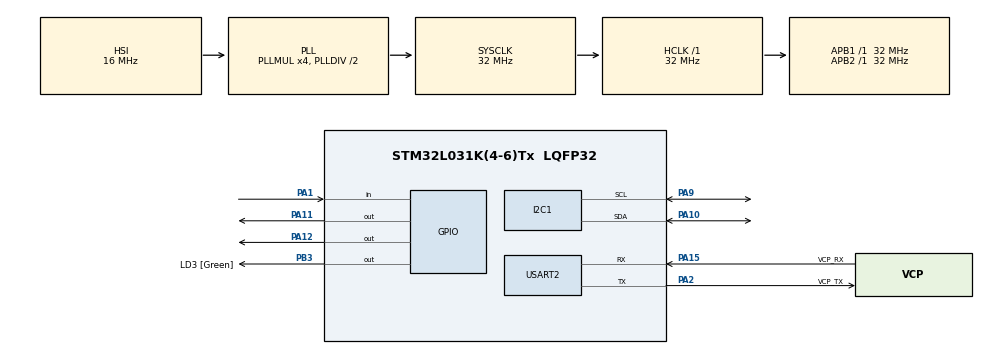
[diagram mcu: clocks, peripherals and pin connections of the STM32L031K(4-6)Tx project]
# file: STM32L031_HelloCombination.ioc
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I2C1.Speed=100
I2C1.Timing=0x00707CBB
Mcu.Family=STM32L0
Mcu.Name=STM32L031K(4-6)Tx
Mcu.Package=LQFP32
PA0-CK_IN.Mode=SYS_WakeUp0
PA0-CK_IN.Signal=SYS_WKUP1
PA1.Signal=GPIO_Input
PA10.Mode=I2C
PA10.Signal=I2C1_SDA
PA11.Signal=GPIO_Output
PA12.Signal=GPIO_Output
PA13.GPIO_Label=TMS
PA13.Mode=Serial_Wire
PA13.Signal=SYS_SWDIO
PA14.GPIO_Label=TCK
PA14.Mode=Serial_Wire
PA14.Signal=SYS_SWCLK
PA15.GPIO_Label=VCP_RX
PA15.Mode=Asynchronous
PA15.Signal=USART2_RX
PA2.GPIO_Label=VCP_TX
PA2.Mode=Asynchronous
PA2.Signal=USART2_TX
PA9.Mode=I2C
PA9.Signal=I2C1_SCL
PB3.GPIO_Label=LD3 [Green]
PB3.Signal=GPIO_Output
PC14-OSC32_IN.Mode=LSE-External-Oscillator
PC14-OSC32_IN.Signal=RCC_OSC32_IN
PC15-OSC32_OUT.Mode=LSE-External-Oscillator
PC15-OSC32_OUT.Signal=RCC_OSC32_OUT
ProjectManager.HeapSize=0x200
ProjectManager.StackSize=0x400
ProjectManager.TargetToolchain=STM32CubeIDE
RCC.AHBFreq_Value=32000000
RCC.APB1Freq_Value=32000000
RCC.APB1TimFreq_Value=32000000
RCC.APB2Freq_Value=32000000
RCC.APB2TimFreq_Value=32000000
RCC.HCLKFreq_Value=32000000
RCC.HSE_VALUE=8000000
RCC.HSI16_VALUE=16000000
RCC.HSI48_VALUE=48000000
RCC.HSI_VALUE=16000000
RCC.MSI_VALUE=2097000
RCC.PLLMUL=RCC_PLLMUL_4
RCC.RTCClockSelectionVirtual=RCC_RTCCLKSOURCE_LSE
RCC.SYSCLKFreq_VALUE=32000000
RCC.SYSCLKSource=RCC_SYSCLKSOURCE_PLLCLK
RCC.VCOOutputFreq_Value=64000000
USART2.VirtualMode-Asynchronous=VM_ASYNC
VP_RTC_VS_RTC_Activate.Mode=RTC_Enabled
board=NUCLEO-L031K6

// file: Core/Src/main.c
/* USER CODE BEGIN Header */
/**
  ******************************************************************************
  * @file           : main.c
  * @brief          : Main program body
  ******************************************************************************
  * @attention
  *
  * Copyright (c) 2022 STMicroelectronics.
  * All rights reserved.
  *
  * This software is licensed under terms that can be found in the LICENSE file
  * in the root directory of this software component.
  * If no LICENSE file comes with this software, it is provided AS-IS.
  *
  ******************************************************************************
  * Functionality:
  *
  * While PA0 and PA1 are connected to 3V3 (high) the leds will show the
  * current second % 12.
  * If PA0 and PA1 are left floating an internal pull down (low) will pull them
  * down and the controller goes into standby mode, with only the RTC running.
  *
  * When flashing new code, the controller will reset fully and overwrite the
  * RTC time with the build time.
  * When coming back from standby, the time will not be reset.
  * To check this, the seconds are set to 9 instead of the build time seconds.
  * Note that the RTC might tick to the next second before the led turns on.
  *
  ******************************************************************************
  */
/* USER CODE END Header */
#include "main.h"

/* USER CODE BEGIN Includes */
#include "build_defs.h"
#include <stdbool.h>
/* USER CODE END Includes */

/* USER CODE BEGIN PD */
#define Addr_GND_GND 0xC0
/* USER CODE END PD */

I2C_HandleTypeDef hi2c1;

RTC_HandleTypeDef hrtc;

UART_HandleTypeDef huart2;

/* USER CODE BEGIN PV */
uint8_t hours[] = {35, 53, 71, 18, 36, 54, 72, 16, 34, 52, 70, 17};

uint8_t minutes[] = {2, 20, 38, 56,
                     3, 21, 39, 57,
                     4, 22, 40, 58,
                     5, 23, 41, 59,
                     6, 24, 42, 60,
                     7, 25, 43, 61,
                     8, 26, 44, 62,
                     9, 27, 45, 63,
                     10, 28, 46, 64,
                     11, 29, 47, 65,
                     12, 30, 48, 66,
                     13, 31, 49, 67,
                     14, 32, 50, 68,
                     15, 33, 51, 69,
                     1, 19, 37, 55};
/* USER CODE END PV */

void SystemClock_Config(void);
static void MX_GPIO_Init(void);
static void MX_USART2_UART_Init(void);
static void MX_I2C1_Init(void);
static void MX_RTC_Init(void);
/* USER CODE BEGIN PFP */
static void MAX_Set_Rtc(void);
void MAX_Init3746A(void);
void MAX_I2CSend(uint8_t * data);
/* USER CODE END PFP */

int main(void)
{

  /* MCU Configuration--------------------------------------------------------*/

  /* Reset of all peripherals, Initializes the Flash interface and the Systick. */
  HAL_Init();

  /* Configure the system clock */
  SystemClock_Config();

  /* Initialize all configured peripherals */
  MX_GPIO_Init();
  MX_USART2_UART_Init();
  MX_I2C1_Init();
  MX_RTC_Init();
  /* USER CODE BEGIN 2 */
  // NOTE: USER MODIFIED CODE IN AUTO CONFIG MX_RTC_Init(); !!!!!!!!!!!!!!!!!!!!!!!!

  // when coming from standby
  if (PWR->CSR & PWR_CSR_SBF) {
    // reset the standby flag
    PWR->CR |= PWR_CR_CSBF;
  } else {
    // coming from flashing (or full reset)

    MAX_Set_Rtc();
  }

  HAL_GPIO_WritePin(GPIOA, GPIO_PIN_12, GPIO_PIN_SET);
  HAL_GPIO_WritePin(GPIOA, GPIO_PIN_11, GPIO_PIN_SET);

  MAX_Init3746A();

  RTC_TimeTypeDef lasttime;
  lasttime.Seconds = 99;
  lasttime.Hours = 99;
  lasttime.Minutes = 99;

  bool changed = false;
  /* USER CODE END 2 */

  /* Infinite loop */
  /* USER CODE BEGIN WHILE */
  while (1)
  {
    RTC_TimeTypeDef time;
    RTC_DateTypeDef date;
    HAL_RTC_GetTime(&hrtc, &time, RTC_FORMAT_BIN);
    HAL_RTC_GetDate(&hrtc, &date, RTC_FORMAT_BIN);

    uint8_t data[2];
    data[0] = 0xfe;
    data[1] = 0xc5;
    MAX_I2CSend(data);
    data[0] = 0xfd;
    data[1] = 0x00;
    MAX_I2CSend(data); // page 0

    if (time.Seconds != lasttime.Seconds) {
      data[0] = minutes[(lasttime.Seconds+41)%60];
      data[1] = 0x00;
      MAX_I2CSend(data); // off

      changed = true;

      data[0] = minutes[(time.Seconds+41)%60];
      data[1] = 0x08;
      MAX_I2CSend(data); // on
      data[0] = minutes[(time.Minutes+41)%60];
      data[1] = 0x08;
      MAX_I2CSend(data); // on
    }

    if (time.Minutes != lasttime.Minutes) {
      data[0] = minutes[(lasttime.Minutes+41)%60];
      data[1] = 0x00;
      MAX_I2CSend(data); // off

      changed = true;

      data[0] = minutes[(time.Minutes+41)%60];
      data[1] = 0x08;
      MAX_I2CSend(data); // on
    }

    if (time.Hours != lasttime.Hours) {
      data[0] = hours[(lasttime.Hours+4)%12];
      data[1] = 0x00;
      MAX_I2CSend(data); // off

      changed = true;

      data[0] = hours[(time.Hours+4)%12];
      data[1] = 0x08;
      MAX_I2CSend(data); // on
    }

    if (changed) {
      changed = false;
      lasttime = time;
    }

    // if button was released, aka pulled low
    if (!HAL_GPIO_ReadPin(GPIOA, GPIO_PIN_1)) {

      // all leds off
      data[0] = 0xfe;
      data[1] = 0xc5;
      MAX_I2CSend(data);
      data[0] = 0xfd;
      data[1] = 0x00;
      MAX_I2CSend(data); // page 0
      for (int i = 1; i < 73; i++)
      {
        data[0] = i;
        data[1] = 0x00;
        MAX_I2CSend(data); // PWM
      }

      // turn stuff off
      PWR->CSR |= PWR_CSR_EWUP1 | PWR_CSR_EWUP2;
      PWR->CR |= PWR_CR_CWUF;
      PWR->CR |= PWR_CR_ULP; // turn off v_refint

      HAL_PWR_EnableWakeUpPin(PWR_WAKEUP_PIN1);

      // goto standby
      HAL_PWR_EnterSTANDBYMode();
    }
    /* USER CODE END WHILE */

  }
}

void SystemClock_Config(void)
{
  RCC_OscInitTypeDef RCC_OscInitStruct = {0};
  RCC_ClkInitTypeDef RCC_ClkInitStruct = {0};
  RCC_PeriphCLKInitTypeDef PeriphClkInit = {0};

  /** Configure the main internal regulator output voltage
  */
  __HAL_PWR_VOLTAGESCALING_CONFIG(PWR_REGULATOR_VOLTAGE_SCALE1);
  /** Configure LSE Drive Capability
  */
  HAL_PWR_EnableBkUpAccess();
  __HAL_RCC_LSEDRIVE_CONFIG(RCC_LSEDRIVE_LOW);
  /** Initializes the RCC Oscillators according to the specified parameters
  * in the RCC_OscInitTypeDef structure.
  */
  RCC_OscInitStruct.OscillatorType = RCC_OSCILLATORTYPE_HSI|RCC_OSCILLATORTYPE_LSE;
  RCC_OscInitStruct.LSEState = RCC_LSE_ON;
  RCC_OscInitStruct.HSIState = RCC_HSI_ON;
  RCC_OscInitStruct.HSICalibrationValue = RCC_HSICALIBRATION_DEFAULT;
  RCC_OscInitStruct.PLL.PLLState = RCC_PLL_ON;
  RCC_OscInitStruct.PLL.PLLSource = RCC_PLLSOURCE_HSI;
  RCC_OscInitStruct.PLL.PLLMUL = RCC_PLLMUL_4;
  RCC_OscInitStruct.PLL.PLLDIV = RCC_PLLDIV_2;
  if (HAL_RCC_OscConfig(&RCC_OscInitStruct) != HAL_OK)
  {
    Error_Handler();
  }
  /** Initializes the CPU, AHB and APB buses clocks
  */
  RCC_ClkInitStruct.ClockType = RCC_CLOCKTYPE_HCLK|RCC_CLOCKTYPE_SYSCLK
                              |RCC_CLOCKTYPE_PCLK1|RCC_CLOCKTYPE_PCLK2;
  RCC_ClkInitStruct.SYSCLKSource = RCC_SYSCLKSOURCE_PLLCLK;
  RCC_ClkInitStruct.AHBCLKDivider = RCC_SYSCLK_DIV1;
  RCC_ClkInitStruct.APB1CLKDivider = RCC_HCLK_DIV1;
  RCC_ClkInitStruct.APB2CLKDivider = RCC_HCLK_DIV1;

  if (HAL_RCC_ClockConfig(&RCC_ClkInitStruct, FLASH_LATENCY_1) != HAL_OK)
  {
    Error_Handler();
  }
  PeriphClkInit.PeriphClockSelection = RCC_PERIPHCLK_USART2|RCC_PERIPHCLK_I2C1
                              |RCC_PERIPHCLK_RTC;
  PeriphClkInit.Usart2ClockSelection = RCC_USART2CLKSOURCE_PCLK1;
  PeriphClkInit.I2c1ClockSelection = RCC_I2C1CLKSOURCE_PCLK1;
  PeriphClkInit.RTCClockSelection = RCC_RTCCLKSOURCE_LSE;
  if (HAL_RCCEx_PeriphCLKConfig(&PeriphClkInit) != HAL_OK)
  {
    Error_Handler();
  }
}

static void MX_I2C1_Init(void)
{

  hi2c1.Instance = I2C1;
  hi2c1.Init.Timing = 0x00707CBB;
  hi2c1.Init.OwnAddress1 = 0;
  hi2c1.Init.AddressingMode = I2C_ADDRESSINGMODE_7BIT;
  hi2c1.Init.DualAddressMode = I2C_DUALADDRESS_DISABLE;
  hi2c1.Init.OwnAddress2 = 0;
  hi2c1.Init.OwnAddress2Masks = I2C_OA2_NOMASK;
  hi2c1.Init.GeneralCallMode = I2C_GENERALCALL_DISABLE;
  hi2c1.Init.NoStretchMode = I2C_NOSTRETCH_DISABLE;
  if (HAL_I2C_Init(&hi2c1) != HAL_OK)
  {
    Error_Handler();
  }
  /** Configure Analogue filter
  */
  if (HAL_I2CEx_ConfigAnalogFilter(&hi2c1, I2C_ANALOGFILTER_ENABLE) != HAL_OK)
  {
    Error_Handler();
  }
  /** Configure Digital filter
  */
  if (HAL_I2CEx_ConfigDigitalFilter(&hi2c1, 0) != HAL_OK)
  {
    Error_Handler();
  }

}

static void MX_RTC_Init(void)
{

  /** Initialize RTC Only
  */
  hrtc.Instance = RTC;
  hrtc.Init.HourFormat = RTC_HOURFORMAT_24;
  hrtc.Init.AsynchPrediv = 127;
  hrtc.Init.SynchPrediv = 255;
  hrtc.Init.OutPut = RTC_OUTPUT_DISABLE;
  hrtc.Init.OutPutRemap = RTC_OUTPUT_REMAP_NONE;
  hrtc.Init.OutPutPolarity = RTC_OUTPUT_POLARITY_HIGH;
  hrtc.Init.OutPutType = RTC_OUTPUT_TYPE_OPENDRAIN;
  if (!(PWR->CSR & PWR_CSR_SBF)) { //USER
    if (HAL_RTC_Init(&hrtc) != HAL_OK)
    {
      Error_Handler();
    }
  } //USER

}

static void MX_USART2_UART_Init(void)
{

  huart2.Instance = USART2;
  huart2.Init.BaudRate = 115200;
  huart2.Init.WordLength = UART_WORDLENGTH_8B;
  huart2.Init.StopBits = UART_STOPBITS_1;
  huart2.Init.Parity = UART_PARITY_NONE;
  huart2.Init.Mode = UART_MODE_TX_RX;
  huart2.Init.HwFlowCtl = UART_HWCONTROL_NONE;
  huart2.Init.OverSampling = UART_OVERSAMPLING_16;
  huart2.Init.OneBitSampling = UART_ONE_BIT_SAMPLE_DISABLE;
  huart2.AdvancedInit.AdvFeatureInit = UART_ADVFEATURE_NO_INIT;
  if (HAL_UART_Init(&huart2) != HAL_OK)
  {
    Error_Handler();
  }

}

static void MX_GPIO_Init(void)
{
  GPIO_InitTypeDef GPIO_InitStruct = {0};

  /* GPIO Ports Clock Enable */
  __HAL_RCC_GPIOC_CLK_ENABLE();
  __HAL_RCC_GPIOA_CLK_ENABLE();
  __HAL_RCC_GPIOB_CLK_ENABLE();

  /*Configure GPIO pin Output Level */
  HAL_GPIO_WritePin(GPIOA, GPIO_PIN_11|GPIO_PIN_12, GPIO_PIN_RESET);

  /*Configure GPIO pin Output Level */
  HAL_GPIO_WritePin(LD3_GPIO_Port, LD3_Pin, GPIO_PIN_RESET);

  /*Configure GPIO pin : PA1 */
  GPIO_InitStruct.Pin = GPIO_PIN_1;
  GPIO_InitStruct.Mode = GPIO_MODE_INPUT;
  GPIO_InitStruct.Pull = GPIO_NOPULL;
  HAL_GPIO_Init(GPIOA, &GPIO_InitStruct);

  /*Configure GPIO pins : PA11 PA12 */
  GPIO_InitStruct.Pin = GPIO_PIN_11|GPIO_PIN_12;
  GPIO_InitStruct.Mode = GPIO_MODE_OUTPUT_PP;
  GPIO_InitStruct.Pull = GPIO_NOPULL;
  GPIO_InitStruct.Speed = GPIO_SPEED_FREQ_LOW;
  HAL_GPIO_Init(GPIOA, &GPIO_InitStruct);

  /*Configure GPIO pin : LD3_Pin */
  GPIO_InitStruct.Pin = LD3_Pin;
  GPIO_InitStruct.Mode = GPIO_MODE_OUTPUT_PP;
  GPIO_InitStruct.Pull = GPIO_NOPULL;
  GPIO_InitStruct.Speed = GPIO_SPEED_FREQ_LOW;
  HAL_GPIO_Init(LD3_GPIO_Port, &GPIO_InitStruct);

}

/* USER CODE BEGIN 4 */
static void MAX_Set_Rtc(void)
{
  // with the build_defs.h this sets the rtc to build time
  // it will lag the real time just by a few seconds

  RTC_TimeTypeDef time;
  time.Hours = BUILD_HOUR;
  time.Minutes = BUILD_MIN;
  time.Seconds = BUILD_SEC;
  HAL_RTC_SetTime(&hrtc, &time, RTC_FORMAT_BIN);

  // same with the date
  RTC_DateTypeDef date;
  date.Year = BUILD_YEAR_SHORT;
  date.Month = BUILD_MONTH;
  date.Date = BUILD_DAY;
  // the weekday is calculated (meh)
  uint16_t year = BUILD_YEAR;
  uint16_t month = BUILD_MONTH;
  uint16_t day = BUILD_DAY;
  if (month < 3) {
    day = day + year;
    year--;
  } else {
    day = day + year - 2;
  }
  date.WeekDay = ((uint16_t)(23 * month/9.0) + day + 4 + (uint16_t)(year/4) - (uint16_t)(year/100) + (uint16_t)(year/400)) % 7;
  // correct for sunday
  // 1 = monday, 7 = sunday
  if (date.WeekDay == 0) {
    date.WeekDay = 7;
  }
  HAL_RTC_SetDate(&hrtc, &date, RTC_FORMAT_BIN);
}

void MAX_Init3746A(void)
{
  uint8_t data[2];

  data[0] = 0xfe;
  data[1] = 0xc5;
  MAX_I2CSend(data);
  data[0] = 0xfd;
  data[1] = 0x00;
  MAX_I2CSend(data); // page 0
  for (int i = 1; i < 73; i++)
  {
    data[0] = i;
    data[1] = 0x00;
    MAX_I2CSend(data); // PWM
  }

  data[0] = 0xfe;
  data[1] = 0xc5;
  MAX_I2CSend(data);
  data[0] = 0xfd;
  data[1] = 0x01;
  MAX_I2CSend(data); // page 1
  for (int i = 1; i < 73; i++)
  {
    data[0] = i;
    data[1] = 0xff;
    MAX_I2CSend(data); // scaling
  }

  data[0] = 0x52;
  data[1] = 0x70;
  MAX_I2CSend(data);
  data[0] = 0x51;
  data[1] = 0xff;
  MAX_I2CSend(data); // gcc
  data[0] = 0x50;
  data[1] = 0x01;
  MAX_I2CSend(data);
}

void MAX_I2CSend(uint8_t * data)
{
  HAL_I2C_Master_Transmit(&hi2c1, Addr_GND_GND, data, 2, 0xFFFF);
}
/* USER CODE END 4 */

void Error_Handler(void)
{
  __disable_irq();
  while (1)
  {
  }
}
